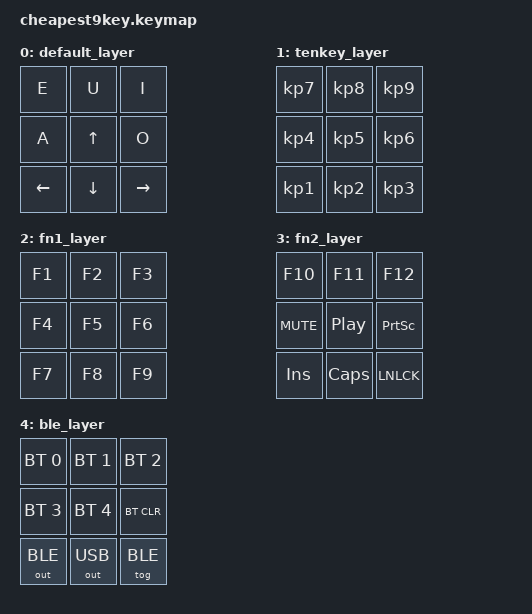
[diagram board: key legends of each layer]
#include <behaviors.dtsi>
#include <dt-bindings/zmk/keys.h>
#include <dt-bindings/zmk/bt.h>
#include <dt-bindings/zmk/outputs.h>

#define BASE   0
#define TENKEY 1
#define FN1    2
#define FN2    3
#define BLE    4

/ {
    behaviors {
        // One-Shot Modifiers (Sticky Keys)
        skq: sticky_key_quick {
            compatible = "zmk,behavior-sticky-key";
            #binding-cells = <1>;
            bindings = <&kp>;
            release-after-ms = <1000>;
            quick-release;
        };
    };

    combos {
        compatible = "zmk,combos";
        timeout-ms = <50>;

        // --- 基本操作 (Space, Enter, BS) ---
        c_bs   { key-positions = <0 1 2>; bindings = <&kp BSPC>; };
        c_del  { key-positions = <0 1 2 8>; bindings = <&kp DEL>; };
        c_ent  { key-positions = <3 4 5>; bindings = <&kp RET>; };
        c_spc  { key-positions = <6 7 8>; bindings = <&kp SPACE>; };

        // --- アルファベット (Q-Z) ---
        c_q { key-positions = <0 3>; bindings = <&kp Q>; };
        c_w { key-positions = <0 4>; bindings = <&kp W>; };
        c_r { key-positions = <0 1>; bindings = <&kp R>; };
        c_t { key-positions = <0 2>; bindings = <&kp T>; };
        c_y { key-positions = <1 4>; bindings = <&kp Y>; };
        c_p { key-positions = <1 2>; bindings = <&kp P>; };
        c_s { key-positions = <0 6>; bindings = <&kp S>; };
        c_d { key-positions = <1 3>; bindings = <&kp D>; };
        c_f { key-positions = <3 4>; bindings = <&kp F>; };
        c_g { key-positions = <1 7>; bindings = <&kp G>; };
        c_h { key-positions = <3 5>; bindings = <&kp H>; };
        c_j { key-positions = <4 5>; bindings = <&kp J>; };
        c_k { key-positions = <1 5>; bindings = <&kp K>; };
        c_l { key-positions = <2 8>; bindings = <&kp L>; };
        c_z { key-positions = <3 6>; bindings = <&kp Z>; };
        c_x { key-positions = <4 6>; bindings = <&kp X>; };
        c_c { key-positions = <6 7>; bindings = <&kp C>; };
        c_v { key-positions = <6 8>; bindings = <&kp V>; };
        c_b { key-positions = <4 7>; bindings = <&kp B>; };
        c_n { key-positions = <7 8>; bindings = <&kp N>; };
        c_m { key-positions = <5 8>; bindings = <&kp M>; };

        // --- 数字 (1-0) ---
        c_1 { key-positions = <0 1 3 4>; bindings = <&kp N1>; };
        c_2 { key-positions = <1 2 4 5>; bindings = <&kp N2>; };
        c_3 { key-positions = <3 4 6 7>; bindings = <&kp N3>; };
        c_4 { key-positions = <4 5 7 8>; bindings = <&kp N4>; };
        c_5 { key-positions = <1 3 4 5>; bindings = <&kp N5>; };
        c_6 { key-positions = <0 1 3 4 6 7>; bindings = <&kp N6>; };
        c_7 { key-positions = <1 2 4 5 7 8>; bindings = <&kp N7>; };
        c_8 { key-positions = <0 1 2 3 4 5>; bindings = <&kp N8>; };
        c_9 { key-positions = <3 4 5 6 7 8>; bindings = <&kp N9>; };
        c_0 { key-positions = <4 6 7 8>; bindings = <&kp N0>; };

        // --- 記号・括弧 (JIS配列を意識した出力) ---
        c_lprn { key-positions = <0 1 3>; bindings = <&kp LS(N8)>; };
        c_rprn { key-positions = <1 3 4>; bindings = <&kp LS(N9)>; };
        c_lbrc { key-positions = <1 2 4>; bindings = <&kp LBKT>; };
        c_rbrc { key-positions = <2 4 5>; bindings = <&kp RBKT>; };
        c_slbrc { key-positions = <3 4 6>; bindings = <&kp LS(LBKT)>; };
        c_srbrc { key-positions = <4 6 7>; bindings = <&kp LS(RBKT)>; };
        c_comm  { key-positions = <0 1 5>; bindings = <&kp COMMA>; };
        c_dot   { key-positions = <3 4 8>; bindings = <&kp DOT>; };
        c_scomm { key-positions = <4 5 7>; bindings = <&kp LS(COMMA)>; };
        c_sdot  { key-positions = <5 7 8>; bindings = <&kp LS(DOT)>; };
        c_coln  { key-positions = <2 5 7>; bindings = <&kp SQT>; };
        c_scln  { key-positions = <1 4 6>; bindings = <&kp SEMI>; };

        // --- 数学記号・その他 ---
        c_minus { key-positions = <4 5 6>; bindings = <&kp MINUS>; };
        c_und   { key-positions = <3 7 8>; bindings = <&kp LS(INT1)>; };
        c_plus  { key-positions = <1 3 5 7>; bindings = <&kp LS(MINUS)>; };
        c_eql   { key-positions = <3 5 6 8>; bindings = <&kp LS(N0)>; };
        c_plss  { key-positions = <2 4>; bindings = <&kp LS(SEMI)>; };
        c_eqll  { key-positions = <2 5>; bindings = <&kp LS(MINUS)>; };
        c_astr  { key-positions = <5 7>; bindings = <&kp LS(SQT)>; };
        c_perc  { key-positions = <4 8>; bindings = <&kp LS(N5)>; };
        c_at    { key-positions = <3 7>; bindings = <&kp LBKT>; };
        c_exlm  { key-positions = <0 2 3 4>; bindings = <&kp LS(N1)>; };
        c_ques  { key-positions = <5 6 7>; bindings = <&kp LS(SLASH)>; };
        c_pipe  { key-positions = <1 4 7>; bindings = <&kp LS(INT3)>; };
        c_slsh  { key-positions = <2 4 6>; bindings = <&kp SLASH>; };
        c_bsls  { key-positions = <0 4 8>; bindings = <&kp INT1>; };
        c_dqt   { key-positions = <1 2 7>; bindings = <&kp LS(N2)>; };
        c_quot  { key-positions = <0 1 7>; bindings = <&kp LS(N7)>; };
        c_grv   { key-positions = <4 6 8>; bindings = <&kp LS(AT)>; };
        c_grv_s { key-positions = <0 1 8>; bindings = <&kp LS(LBKT)>; };
        c_circ  { key-positions = <1 3 5>; bindings = <&kp EQUAL>; };
        c_tild  { key-positions = <0 2 4>; bindings = <&kp LS(EQUAL)>; };

        // --- ナビゲーション ---
        c_home  { key-positions = <1 6>; bindings = <&kp HOME>; };
        c_end   { key-positions = <0 7>; bindings = <&kp END>; };
        c_pgup  { key-positions = <1 8>; bindings = <&kp PG_UP>; };
        c_pgdn  { key-positions = <2 7>; bindings = <&kp PG_DN>; };
        c_tab   { key-positions = <0 5>; bindings = <&kp TAB>; };
        c_shftab { key-positions = <2 3>; bindings = <&kp LS(TAB)>; };
        c_esc   { key-positions = <0 1 3 4 8>; bindings = <&kp ESC>; };
        c_henk  { key-positions = <2 5 8>; bindings = <&kp INT4>; };
        c_mhen  { key-positions = <0 3 6>; bindings = <&kp INT5>; };
        c_undo  { key-positions = <3 8>; bindings = <&kp LC(Z)>; };
        c_redo  { key-positions = <5 6>; bindings = <&kp LC(Y)>; };

        // --- 修飾キー (Sticky) ---
        c_sft { key-positions = <0 3 4>; bindings = <&skq LSHFT>; };
        c_gui { key-positions = <1 4 5>; bindings = <&skq LGUI>; };
        c_ctl { key-positions = <3 6 7>; bindings = <&skq LCTRL>; };
        c_alt { key-positions = <4 7 8>; bindings = <&skq LALT>; };

        // --- 修飾キー組み合わせ ---
        c_sft_gui { key-positions = <0 1 3 4 5>; bindings = <&skq LG(LSHFT)>; };
        c_sft_ctl { key-positions = <0 3 4 6 7>; bindings = <&skq LC(LSHFT)>; };
        c_sft_alt { key-positions = <0 3 4 7 8>; bindings = <&skq LA(LSHFT)>; };
        c_gui_ctl { key-positions = <1 3 4 5 6 7>; bindings = <&skq LC(LGUI)>; };
        c_gui_alt { key-positions = <1 4 5 7 8>; bindings = <&skq LA(LGUI)>; };
        c_ctl_alt { key-positions = <3 4 6 7 8>; bindings = <&skq LA(LCTRL)>; };

        // --- レイヤー・システム ---
        c_tk   { key-positions = <1 3 5 7>; bindings = <&tog TENKEY>; };
        c_fn1  { key-positions = <0 1 3 4 6>; bindings = <&mo FN1>; };
        c_fn2  { key-positions = <1 2 4 5 7>; bindings = <&mo FN2>; };
        
        // --- 無線設定レイヤー (0-2-6 E-I-Left トグル) ---
        c_ble  { key-positions = <0 2 6>; bindings = <&tog BLE>; };
    };

    keymap {
        compatible = "zmk,keymap";

        default_layer {
            bindings = <
                &kp E    &kp U    &kp I
                &kp A    &kp UP   &kp O
                &kp LEFT &kp DOWN &kp RIGHT
            >;
        };

        tenkey_layer {
            bindings = <
                &kp KP_N7 &kp KP_N8 &kp KP_N9
                &kp KP_N4 &kp KP_N5 &kp KP_N6
                &kp KP_N1 &kp KP_N2 &kp KP_N3
            >;
        };

        fn1_layer {
            bindings = <
                &kp F1 &kp F2 &kp F3
                &kp F4 &kp F5 &kp F6
                &kp F7 &kp F8 &kp F9
            >;
        };

        fn2_layer {
            bindings = <
                &kp F10      &kp F11      &kp F12
                &kp K_MUTE   &kp C_PP     &kp PSCRN
                &kp INS      &kp CAPS     &kp LNLCK
            >;
        };

        ble_layer {
            bindings = <
                &bt BT_SEL 0  &bt BT_SEL 1  &bt BT_SEL 2
                &bt BT_SEL 3  &bt BT_SEL 4  &bt BT_CLR
                &out OUT_BLE  &out OUT_USB  &tog BLE
            >;
        };
    };
};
